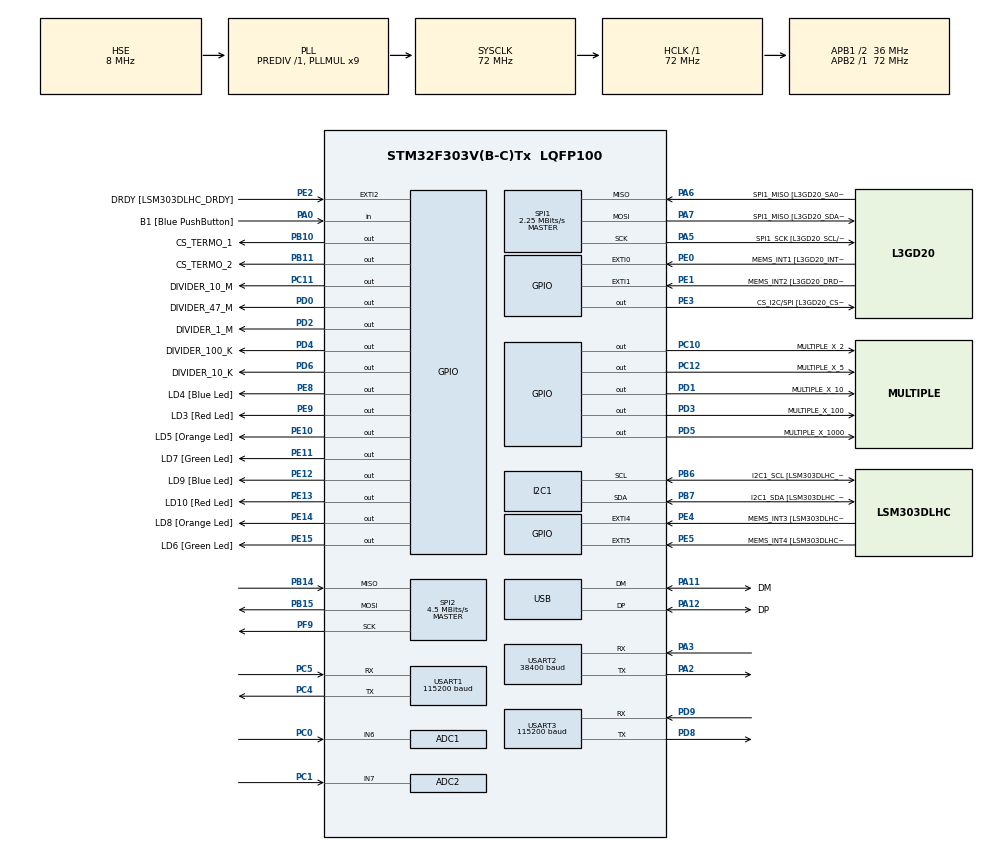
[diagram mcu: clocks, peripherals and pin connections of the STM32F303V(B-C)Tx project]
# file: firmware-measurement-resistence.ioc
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ADC1.Channel-1\#ChannelRegularConversion=ADC_CHANNEL_6
ADC1.ContinuousConvMode=ENABLE
ADC1.EOCSelection=ADC_EOC_SINGLE_CONV
ADC1.NbrOfConversionFlag=1
ADC1.Offset-1\#ChannelRegularConversion=0
ADC1.OffsetNumber-1\#ChannelRegularConversion=ADC_OFFSET_NONE
ADC1.Rank-1\#ChannelRegularConversion=1
ADC1.SamplingTime-1\#ChannelRegularConversion=ADC_SAMPLETIME_61CYCLES_5
ADC1.master=1
ADC2.Channel-0\#ChannelRegularConversion=ADC_CHANNEL_7
ADC2.ContinuousConvMode=ENABLE
ADC2.NbrOfConversionFlag=1
ADC2.Offset-0\#ChannelRegularConversion=0
ADC2.OffsetNumber-0\#ChannelRegularConversion=ADC_OFFSET_NONE
ADC2.Rank-0\#ChannelRegularConversion=1
ADC2.SamplingTime-0\#ChannelRegularConversion=ADC_SAMPLETIME_61CYCLES_5
ADC2.SamplingTimeOPAMP-0\#ChannelRegularConversion=ADC_SAMPLETIME_61CYCLES_5
Dma.Request0=USART3_RX
Dma.Request1=USART3_TX
Dma.USART3_RX.0.Direction=DMA_PERIPH_TO_MEMORY
Dma.USART3_RX.0.Instance=DMA1_Channel3
Dma.USART3_RX.0.MemDataAlignment=DMA_MDATAALIGN_BYTE
Dma.USART3_RX.0.MemInc=DMA_MINC_ENABLE
Dma.USART3_RX.0.Mode=DMA_CIRCULAR
Dma.USART3_RX.0.PeriphDataAlignment=DMA_PDATAALIGN_BYTE
Dma.USART3_RX.0.PeriphInc=DMA_PINC_DISABLE
Dma.USART3_RX.0.Priority=DMA_PRIORITY_LOW
Dma.USART3_TX.1.Direction=DMA_MEMORY_TO_PERIPH
Dma.USART3_TX.1.Instance=DMA1_Channel2
Dma.USART3_TX.1.MemDataAlignment=DMA_MDATAALIGN_BYTE
Dma.USART3_TX.1.MemInc=DMA_MINC_ENABLE
Dma.USART3_TX.1.Mode=DMA_NORMAL
Dma.USART3_TX.1.PeriphDataAlignment=DMA_PDATAALIGN_BYTE
Dma.USART3_TX.1.PeriphInc=DMA_PINC_DISABLE
Dma.USART3_TX.1.Priority=DMA_PRIORITY_LOW
I2C1.Timing-I2C=0x2000090E
Mcu.Family=STM32F3
Mcu.Name=STM32F303V(B-C)Tx
Mcu.Package=LQFP100
NVIC.DMA1_Channel2_IRQn=true\:0\:0\:false\:false\:true\:false\:true
NVIC.DMA1_Channel3_IRQn=true\:0\:0\:false\:false\:true\:false\:true
NVIC.PriorityGroup=NVIC_PRIORITYGROUP_0
PA0.GPIO_Label=B1 [Blue PushButton]
PA0.Signal=GPIO_Input
PA11.GPIO_Label=DM
PA11.Mode=Device
PA11.Signal=USB_DM
PA12.GPIO_Label=DP
PA12.Mode=Device
PA12.Signal=USB_DP
PA13.GPIO_Label=SWDIO
PA13.Mode=Serial_Wire
PA13.Signal=SYS_JTMS-SWDIO
PA14.GPIO_Label=SWCLK
PA14.Mode=Serial_Wire
PA14.Signal=SYS_JTCK-SWCLK
PA2.Mode=Asynchronous
PA2.Signal=USART2_TX
PA3.Mode=Asynchronous
PA3.Signal=USART2_RX
PA5.GPIO_Label=SPI1_SCK [L3GD20_SCL/SPC]
PA5.Mode=Full_Duplex_Master
PA5.Signal=SPI1_SCK
PA6.GPIO_Label=SPI1_MISO [L3GD20_SA0/SDO]
PA6.Mode=Full_Duplex_Master
PA6.Signal=SPI1_MISO
PA7.GPIO_Label=SPI1_MISO [L3GD20_SDA/SDI/SDO]
PA7.Mode=Full_Duplex_Master
PA7.Signal=SPI1_MOSI
PB10.GPIO_Label=CS_TERMO_1
PB10.GPIO_PuPd=GPIO_PULLUP
PB10.PinState=GPIO_PIN_SET
PB10.Signal=GPIO_Output
PB11.GPIO_Label=CS_TERMO_2
PB11.GPIO_PuPd=GPIO_PULLUP
PB11.PinState=GPIO_PIN_SET
PB11.Signal=GPIO_Output
PB14.Mode=Full_Duplex_Master
PB14.Signal=SPI2_MISO
PB15.Mode=Full_Duplex_Master
PB15.Signal=SPI2_MOSI
PB3.GPIO_Label=SWO
PB3.Signal=SYS_JTDO-TRACESWO
PB6.GPIO_Label=I2C1_SCL [LSM303DLHC_SCL]
PB6.Mode=I2C
PB6.Signal=I2C1_SCL
PB7.GPIO_Label=I2C1_SDA [LSM303DLHC_SDA]
PB7.Mode=I2C
PB7.Signal=I2C1_SDA
PC0.Signal=ADCx_IN6
PC1.Signal=ADCx_IN7
PC10.GPIO_Label=MULTIPLE_X_2
PC10.GPIO_PuPd=GPIO_PULLUP
PC10.Signal=GPIO_Output
PC11.GPIO_Label=DIVIDER_10_M
PC11.GPIO_PuPd=GPIO_PULLUP
PC11.PinState=GPIO_PIN_RESET
PC11.Signal=GPIO_Output
PC12.GPIO_Label=MULTIPLE_X_5
PC12.GPIO_PuPd=GPIO_PULLUP
PC12.Signal=GPIO_Output
PC14-OSC32_IN.GPIO_Label=OSC32_IN
PC14-OSC32_IN.Signal=RCC_OSC32_IN
PC15-OSC32_OUT.GPIO_Label=OSC32_OUT
PC15-OSC32_OUT.Signal=RCC_OSC32_OUT
PC4.GPIO_PuPd=GPIO_NOPULL
PC4.Mode=Asynchronous
PC4.Signal=USART1_TX
PC5.GPIO_PuPd=GPIO_NOPULL
PC5.Mode=Asynchronous
PC5.Signal=USART1_RX
PD0.GPIO_Label=DIVIDER_47_M
PD0.GPIO_PuPd=GPIO_PULLUP
PD0.Signal=GPIO_Output
PD1.GPIO_Label=MULTIPLE_X_10
PD1.GPIO_PuPd=GPIO_PULLUP
PD1.Signal=GPIO_Output
PD2.GPIO_Label=DIVIDER_1_M
PD2.GPIO_PuPd=GPIO_PULLUP
PD2.Signal=GPIO_Output
PD3.GPIO_Label=MULTIPLE_X_100
PD3.GPIO_PuPd=GPIO_PULLUP
PD3.Signal=GPIO_Output
PD4.GPIO_Label=DIVIDER_100_K
PD4.GPIO_PuPd=GPIO_PULLUP
PD4.Signal=GPIO_Output
PD5.GPIO_Label=MULTIPLE_X_1000
PD5.GPIO_PuPd=GPIO_PULLUP
PD5.Signal=GPIO_Output
PD6.GPIO_Label=DIVIDER_10_K
PD6.GPIO_PuPd=GPIO_PULLUP
PD6.Signal=GPIO_Output
PD8.Mode=Asynchronous
PD8.Signal=USART3_TX
PD9.Mode=Asynchronous
PD9.Signal=USART3_RX
PE0.GPIO_Label=MEMS_INT1 [L3GD20_INT1]
PE0.GPIO_ModeDefaultEXTI=GPIO_MODE_EVT_RISING
PE0.Signal=GPXTI0
PE1.GPIO_Label=MEMS_INT2 [L3GD20_DRDY/INT2]
PE1.GPIO_ModeDefaultEXTI=GPIO_MODE_EVT_RISING
PE1.Signal=GPXTI1
PE10.GPIO_Label=LD5 [Orange Led]
PE10.GPIO_PuPd=GPIO_PULLUP
PE10.Signal=GPIO_Output
PE11.GPIO_Label=LD7 [Green Led]
PE11.GPIO_PuPd=GPIO_PULLUP
PE11.Signal=GPIO_Output
PE12.GPIO_Label=LD9 [Blue Led]
PE12.GPIO_PuPd=GPIO_PULLUP
PE12.Signal=GPIO_Output
PE13.GPIO_Label=LD10 [Red Led]
PE13.GPIO_PuPd=GPIO_PULLUP
PE13.Signal=GPIO_Output
PE14.GPIO_Label=LD8 [Orange Led]
PE14.GPIO_PuPd=GPIO_PULLUP
PE14.Signal=GPIO_Output
PE15.GPIO_Label=LD6 [Green Led]
PE15.GPIO_PuPd=GPIO_PULLUP
PE15.Signal=GPIO_Output
PE2.GPIO_Label=DRDY [LSM303DLHC_DRDY]
PE2.GPIO_ModeDefaultEXTI=GPIO_MODE_EVT_RISING
PE2.Signal=GPXTI2
PE3.GPIO_Label=CS_I2C/SPI [L3GD20_CS_I2C/SPI]
PE3.Signal=GPIO_Output
PE4.GPIO_Label=MEMS_INT3 [LSM303DLHC_INT1]
PE4.GPIO_ModeDefaultEXTI=GPIO_MODE_EVT_RISING
PE4.Signal=GPXTI4
PE5.GPIO_Label=MEMS_INT4 [LSM303DLHC_INT2]
PE5.GPIO_ModeDefaultEXTI=GPIO_MODE_EVT_RISING
PE5.Signal=GPXTI5
PE8.GPIO_Label=LD4 [Blue Led]
PE8.GPIO_PuPd=GPIO_PULLUP
PE8.Signal=GPIO_Output
PE9.GPIO_Label=LD3 [Red Led]
PE9.GPIO_PuPd=GPIO_PULLUP
PE9.Signal=GPIO_Output
PF0-OSC_IN.GPIO_Label=OSC_IN
PF0-OSC_IN.Mode=HSE-External-Oscillator
PF0-OSC_IN.Signal=RCC_OSC_IN
PF1-OSC_OUT.GPIO_Label=OSC_OUT
PF1-OSC_OUT.Mode=HSE-External-Oscillator
PF1-OSC_OUT.Signal=RCC_OSC_OUT
PF9.Mode=Full_Duplex_Master
PF9.Signal=SPI2_SCK
ProjectManager.HeapSize=0x200
ProjectManager.StackSize=0x400
ProjectManager.TargetToolchain=MDK-ARM V5.27
RCC.AHBFreq_Value=72000000
RCC.APB1CLKDivider=RCC_HCLK_DIV2
RCC.APB1Freq_Value=36000000
RCC.APB1TimFreq_Value=72000000
RCC.APB2Freq_Value=72000000
RCC.APB2TimFreq_Value=72000000
RCC.CortexFreq_Value=72000000
RCC.EnbaleCSS=true
RCC.HCLKFreq_Value=72000000
RCC.HSE_VALUE=8000000
RCC.HSI_VALUE=8000000
RCC.LSE_VALUE=32768
RCC.PLLMUL=RCC_PLL_MUL9
RCC.PRESCALERUSB=RCC_USBCLKSOURCE_PLL_DIV1_5
RCC.SYSCLKFreq_VALUE=72000000
RCC.SYSCLKSourceVirtual=RCC_SYSCLKSOURCE_PLLCLK
RCC.USBFreq_Value=48000000
SH.ADCx_IN6.0=ADC1_IN6,IN6-Single-Ended
SH.ADCx_IN7.0=ADC2_IN7,IN7-Single-Ended
SPI1.BaudRatePrescaler=SPI_BAUDRATEPRESCALER_32
SPI1.BaudRatePrescaler-Full_Duplex_Master=SPI_BAUDRATEPRESCALER_2
SPI1.CalculateBaudRate=2.25 MBits/s
SPI1.CalculateBaudRate-Full_Duplex_Master=24.0 MBits/s
SPI1.DataSize=SPI_DATASIZE_16BIT
SPI1.Direction=SPI_DIRECTION_2LINES
SPI1.Mode=SPI_MODE_MASTER
SPI1.Mode-Full_Duplex_Master=SPI_MODE_MASTER
SPI1.VirtualType=VM_MASTER
SPI2.BaudRatePrescaler=SPI_BAUDRATEPRESCALER_8
SPI2.CalculateBaudRate=4.5 MBits/s
SPI2.DataSize=SPI_DATASIZE_16BIT
SPI2.Direction=SPI_DIRECTION_2LINES
SPI2.Mode=SPI_MODE_MASTER
SPI2.VirtualType=VM_MASTER
USART1.BaudRate=115200
USART1.VirtualMode-Asynchronous=VM_ASYNC
USART2.BaudRate=38400
USART2.VirtualMode-Asynchronous=VM_ASYNC
USART3.BaudRate=115200
USART3.DataInvertParam=ADVFEATURE_DATAINV_DISABLE
USART3.VirtualMode-Asynchronous=VM_ASYNC
board=STM32F3DISCOVERY

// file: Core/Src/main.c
/* USER CODE BEGIN Header */
/**
  ******************************************************************************
  * @file           : main.c
  * @brief          : Main program body
  ******************************************************************************
  * @attention
  *
  * <h2><center>&copy; Copyright (c) 2020 STMicroelectronics.
  * All rights reserved.</center></h2>
  *
  * This software component is licensed by ST under BSD 3-Clause license,
  * the "License"; You may not use this file except in compliance with the
  * License. You may obtain a copy of the License at:
  *                        opensource.org/licenses/BSD-3-Clause
  *
  ******************************************************************************
  */
/* USER CODE END Header */
#include "main.h"
#include "adc.h"
#include "dma.h"
#include "i2c.h"
#include "spi.h"
#include "usart.h"
#include "usb.h"
#include "gpio.h"

/* USER CODE BEGIN Includes */
#include "d-protocol.h"
#include "dev-info.h"
/* USER CODE END Includes */

void SystemClock_Config(void);
/* USER CODE BEGIN PFP */
void calculate_average (void);
void change_div_mul (void);

void change_mul_div_up (uint8_t cur_mul, uint8_t div_mul);
void change_mul_div_down (uint8_t cur_mul, uint8_t div_mul);
/* USER CODE END PFP */

/* USER CODE BEGIN 0 */

uint16_t cur_time = 0;
uint16_t prev_time = 0;
uint16_t calc_time = 0;

uint16_t tx[1];
uint16_t rx[1];
uint16_t temp;

	uint8_t asd[5] = {0x11, 0x22, 0x33, 0x44, 0x55};
/* USER CODE END 0 */

int main(void)
{

  /* MCU Configuration--------------------------------------------------------*/

  /* Reset of all peripherals, Initializes the Flash interface and the Systick. */
  HAL_Init();

  /* Configure the system clock */
  SystemClock_Config();

  /* Initialize all configured peripherals */
  MX_GPIO_Init();
  MX_DMA_Init();
  MX_I2C1_Init();
  MX_SPI1_Init();
  MX_USB_PCD_Init();
  MX_SPI2_Init();
  MX_USART3_UART_Init();
  MX_USART1_UART_Init();
  MX_USART2_UART_Init();
  MX_ADC1_Init();
  MX_ADC2_Init();
  /* USER CODE BEGIN 2 */

	HAL_ADC_Start (&hadc1);
	HAL_ADC_Start (&hadc2);

  Reset_All_MUL_DIV ();

  dev_init (&dev_r);

	set_r_multiple (&dev_r, MULTIPLE_X_1);
	Write_MUL (MULTIPLE_X_1, GPIO_PIN_SET);

	set_r_divide (&dev_r, DIVIDER_10_M);
	Write_DIV (DIVIDER_10_M, GPIO_PIN_SET);

	HAL_UART_Transmit (&huart1, (uint8_t *)asd, 5, 1000);

  /* USER CODE END 2 */

  /* Infinite loop */
  /* USER CODE BEGIN WHILE */
  while (1)
  {
		cur_time = get_sys_time (&dev_r);

		if (cur_time > prev_time) {
			calc_time = cur_time - prev_time;
		}
		else {
			calc_time = MAX_SYS_TICK_MS - prev_time + cur_time;
		}

		if (calc_time >= PERIOD_SEND_DELAY) {
			/*execute many times when counters are zero*/
			prev_time = cur_time;

			uint8_t stage = get_status_dev (&dev_r);

			HAL_GPIO_WritePin (LD3_GPIO_Port, LD3_Pin, GPIO_PIN_SET); // test speed measurement
			get_measure ();
			calculate_average ();

			HAL_GPIO_WritePin (CS_TERMO_1_GPIO_Port, CS_TERMO_1_Pin, GPIO_PIN_RESET);
			HAL_SPI_TransmitReceive (&hspi2, (uint8_t *)tx, (uint8_t *)rx, 1, 1000);
			HAL_GPIO_WritePin (CS_TERMO_1_GPIO_Port, CS_TERMO_1_Pin, GPIO_PIN_SET);

			temp = rx[0] >> 3;
			rx[0] = 0;

			set_thermocouple_1 (&dev_r, temp);

			HAL_GPIO_WritePin (CS_TERMO_2_GPIO_Port, CS_TERMO_2_Pin, GPIO_PIN_RESET);
			HAL_SPI_TransmitReceive (&hspi2, (uint8_t *)tx, (uint8_t *)rx, 1, 1000);

			HAL_GPIO_WritePin (CS_TERMO_2_GPIO_Port, CS_TERMO_2_Pin, GPIO_PIN_SET);

			temp = rx[0] >> 3;
			rx[0] = 0;

			set_thermocouple_2 (&dev_r, temp);

			send_message (&data_resistance);

			change_div_mul ();

			HAL_GPIO_WritePin (LD3_GPIO_Port, LD3_Pin, GPIO_PIN_RESET); // test speed measurement

			__NOP();
		}

    /* USER CODE END WHILE */

  }
}

void SystemClock_Config(void)
{
  RCC_OscInitTypeDef RCC_OscInitStruct = {0};
  RCC_ClkInitTypeDef RCC_ClkInitStruct = {0};
  RCC_PeriphCLKInitTypeDef PeriphClkInit = {0};

  /** Initializes the RCC Oscillators according to the specified parameters
  * in the RCC_OscInitTypeDef structure.
  */
  RCC_OscInitStruct.OscillatorType = RCC_OSCILLATORTYPE_HSI|RCC_OSCILLATORTYPE_HSE;
  RCC_OscInitStruct.HSEState = RCC_HSE_ON;
  RCC_OscInitStruct.HSEPredivValue = RCC_HSE_PREDIV_DIV1;
  RCC_OscInitStruct.HSIState = RCC_HSI_ON;
  RCC_OscInitStruct.HSICalibrationValue = RCC_HSICALIBRATION_DEFAULT;
  RCC_OscInitStruct.PLL.PLLState = RCC_PLL_ON;
  RCC_OscInitStruct.PLL.PLLSource = RCC_PLLSOURCE_HSE;
  RCC_OscInitStruct.PLL.PLLMUL = RCC_PLL_MUL9;
  if (HAL_RCC_OscConfig(&RCC_OscInitStruct) != HAL_OK)
  {
    Error_Handler();
  }
  /** Initializes the CPU, AHB and APB buses clocks
  */
  RCC_ClkInitStruct.ClockType = RCC_CLOCKTYPE_HCLK|RCC_CLOCKTYPE_SYSCLK
                              |RCC_CLOCKTYPE_PCLK1|RCC_CLOCKTYPE_PCLK2;
  RCC_ClkInitStruct.SYSCLKSource = RCC_SYSCLKSOURCE_PLLCLK;
  RCC_ClkInitStruct.AHBCLKDivider = RCC_SYSCLK_DIV1;
  RCC_ClkInitStruct.APB1CLKDivider = RCC_HCLK_DIV2;
  RCC_ClkInitStruct.APB2CLKDivider = RCC_HCLK_DIV1;

  if (HAL_RCC_ClockConfig(&RCC_ClkInitStruct, FLASH_LATENCY_2) != HAL_OK)
  {
    Error_Handler();
  }
  PeriphClkInit.PeriphClockSelection = RCC_PERIPHCLK_USB|RCC_PERIPHCLK_USART1
                              |RCC_PERIPHCLK_USART2|RCC_PERIPHCLK_USART3
                              |RCC_PERIPHCLK_I2C1|RCC_PERIPHCLK_ADC12;
  PeriphClkInit.Usart1ClockSelection = RCC_USART1CLKSOURCE_PCLK2;
  PeriphClkInit.Usart2ClockSelection = RCC_USART2CLKSOURCE_PCLK1;
  PeriphClkInit.Usart3ClockSelection = RCC_USART3CLKSOURCE_PCLK1;
  PeriphClkInit.Adc12ClockSelection = RCC_ADC12PLLCLK_DIV1;
  PeriphClkInit.I2c1ClockSelection = RCC_I2C1CLKSOURCE_HSI;
  PeriphClkInit.USBClockSelection = RCC_USBCLKSOURCE_PLL_DIV1_5;
  if (HAL_RCCEx_PeriphCLKConfig(&PeriphClkInit) != HAL_OK)
  {
    Error_Handler();
  }
  /** Enables the Clock Security System
  */
  HAL_RCC_EnableCSS();
}

/* USER CODE BEGIN 4 */

void calculate_average (void)
{
	uint32_t average_adc_data_meas = 0;
	uint32_t average_adc_ref_volt = 0;

	uint16_t adc_data_meas = 0;
	uint16_t adc_ref_volt = 0;

	for (uint8_t i = 0; i < CAPTURE_DATA_SIZE; i++)
	{
		average_adc_data_meas += get_capture_cur_adc_data_meas (&dev_r, i);
		average_adc_ref_volt += get_capture_cur_adc_data_ref_volt (&dev_r, i);
	}

	adc_data_meas = (uint16_t)(average_adc_data_meas / CAPTURE_DATA_SIZE);
	adc_ref_volt = (uint16_t)(average_adc_ref_volt / CAPTURE_DATA_SIZE);

	set_adc_data_meas (&dev_r, adc_data_meas);
	set_adc_data_ref_volt (&dev_r, adc_ref_volt);
}

void change_div_mul (void)
{
	uint16_t adc_data_meas = 0;
	uint8_t gpio_mul = 0;
	uint8_t gpio_div = 0;

	uint16_t adc_ref_volt = 0;

	adc_data_meas = get_adc_data_meas (&dev_r);

	gpio_mul = get_r_multiple (&dev_r);
	gpio_div = get_r_divide (&dev_r);

	/* change divide and multiply resistors depends on adc_ref_out value. */
	/*

	 * ? ?????? ??????????????? ???????? ?? ??????? (divider (D)).
	 * ????? ?????????? ??????????? ???????? ?? ?? (multiple (M)).
	 * ? ???????? ????????? ????????? D ? M ?????????? ????????? ???????:
	 * 	D = const, ? M ?????????? ?? ??? ???, ???? ??????????? ???????????:
	 * 			START_VALUE_SIGNAL_MIN < adc_ref_volt < START_VALUE_SIGNAL_MAX (1)
	 * 	????? (1) ?? ???????????, ?? ??????? ?????????? M, ? ????? M ????????? min ??? max,
	 * 							  ?? D ?????????????? ????????????? ??? ???????????.
	 * */

	/* Go throught range. */
	/*	*/
	if (adc_data_meas < START_VALUE_SIGNAL_MIN) {
		change_mul_div_up (gpio_mul, gpio_div);
	}
	else if (adc_data_meas > START_VALUE_SIGNAL_MAX) {
		change_mul_div_down (gpio_mul, gpio_div);
	}
}

	/*  */
void change_mul_div_up (uint8_t cur_mul, uint8_t div_mul)
{
	switch (div_mul) {
		case DIVIDER_10_K: {
			switch (cur_mul) {
				case MULTIPLE_X_1: {
					Write_MUL (MULTIPLE_X_1, GPIO_PIN_RESET);
					set_r_multiple (&dev_r, MULTIPLE_X_2);
					Write_MUL (MULTIPLE_X_2, GPIO_PIN_SET);
					break;
				}
				case MULTIPLE_X_2: {
					Write_MUL (MULTIPLE_X_2, GPIO_PIN_RESET);
					set_r_multiple (&dev_r, MULTIPLE_X_5);
					Write_MUL (MULTIPLE_X_5, GPIO_PIN_SET);
					break;
				}
				case MULTIPLE_X_5: {
					Write_MUL (MULTIPLE_X_5, GPIO_PIN_RESET);
					set_r_multiple (&dev_r, MULTIPLE_X_10);
					Write_MUL (MULTIPLE_X_10, GPIO_PIN_SET);
					break;
				}
				case MULTIPLE_X_10: {
					Write_MUL (MULTIPLE_X_10, GPIO_PIN_RESET);
					set_r_multiple (&dev_r, MULTIPLE_X_100);
					Write_MUL (MULTIPLE_X_100, GPIO_PIN_SET);
					break;
				}
				case MULTIPLE_X_100: {
					Write_MUL (MULTIPLE_X_100, GPIO_PIN_RESET);
					set_r_multiple (&dev_r, MULTIPLE_X_1000);
					Write_MUL (MULTIPLE_X_1000, GPIO_PIN_SET);
					break;
				}
				case MULTIPLE_X_1000: {
					// should be tested
					Write_MUL (MULTIPLE_X_1000, GPIO_PIN_RESET);
					set_r_multiple (&dev_r, MULTIPLE_X_1);
					Write_MUL (MULTIPLE_X_1, GPIO_PIN_SET);

					Write_DIV (DIVIDER_10_K, GPIO_PIN_RESET);
					set_r_divide (&dev_r, DIVIDER_100_K);
					Write_DIV (DIVIDER_100_K, GPIO_PIN_SET);
					break;
				}
				default: {break;}
			}
			break;
		}
		case DIVIDER_100_K: {
			switch (cur_mul) {
				case MULTIPLE_X_1: {
					Write_MUL (MULTIPLE_X_1, GPIO_PIN_RESET);
					set_r_multiple (&dev_r, MULTIPLE_X_2);
					Write_MUL (MULTIPLE_X_2, GPIO_PIN_SET);
					break;
				}
				case MULTIPLE_X_2: {
					Write_MUL (MULTIPLE_X_2, GPIO_PIN_RESET);
					set_r_multiple (&dev_r, MULTIPLE_X_5);
					Write_MUL (MULTIPLE_X_5, GPIO_PIN_SET);
					break;
				}
				case MULTIPLE_X_5: {
					Write_MUL (MULTIPLE_X_5, GPIO_PIN_RESET);
					set_r_multiple (&dev_r, MULTIPLE_X_10);
					Write_MUL (MULTIPLE_X_10, GPIO_PIN_SET);
					break;
				}
				case MULTIPLE_X_10: {
					Write_MUL (MULTIPLE_X_10, GPIO_PIN_RESET);
					set_r_multiple (&dev_r, MULTIPLE_X_100);
					Write_MUL (MULTIPLE_X_100, GPIO_PIN_SET);
					break;
				}
				case MULTIPLE_X_100: {
					Write_MUL (MULTIPLE_X_100, GPIO_PIN_RESET);
					set_r_multiple (&dev_r, MULTIPLE_X_1000);
					Write_MUL (MULTIPLE_X_1000, GPIO_PIN_SET);
					break;
				}
				case MULTIPLE_X_1000: {
					// should be tested
					Write_MUL (MULTIPLE_X_1000, GPIO_PIN_RESET);
					set_r_multiple (&dev_r, MULTIPLE_X_1);
					Write_MUL (MULTIPLE_X_1, GPIO_PIN_SET);

					Write_DIV (DIVIDER_100_K, GPIO_PIN_RESET);
					set_r_divide (&dev_r, DIVIDER_1_M);
					Write_DIV (DIVIDER_1_M, GPIO_PIN_SET);

					break;
				}
				default: {break;}
			}
			break;
		}
		case DIVIDER_1_M: {
			switch (cur_mul) {
				case MULTIPLE_X_1: {
					Write_MUL (MULTIPLE_X_1, GPIO_PIN_RESET);
					set_r_multiple (&dev_r, MULTIPLE_X_2);
					Write_MUL (MULTIPLE_X_2, GPIO_PIN_SET);
					break;
				}
				case MULTIPLE_X_2: {
					Write_MUL (MULTIPLE_X_2, GPIO_PIN_RESET);
					set_r_multiple (&dev_r, MULTIPLE_X_5);
					Write_MUL (MULTIPLE_X_5, GPIO_PIN_SET);
					break;
				}
				case MULTIPLE_X_5: {
					Write_MUL (MULTIPLE_X_5, GPIO_PIN_RESET);
					set_r_multiple (&dev_r, MULTIPLE_X_10);
					Write_MUL (MULTIPLE_X_10, GPIO_PIN_SET);
					break;
				}
				case MULTIPLE_X_10: {
					Write_MUL (MULTIPLE_X_10, GPIO_PIN_RESET);
					set_r_multiple (&dev_r, MULTIPLE_X_100);
					Write_MUL (MULTIPLE_X_100, GPIO_PIN_SET);
					break;
				}
				case MULTIPLE_X_100: {
					Write_MUL (MULTIPLE_X_100, GPIO_PIN_RESET);
					set_r_multiple (&dev_r, MULTIPLE_X_1000);
					Write_MUL (MULTIPLE_X_10, GPIO_PIN_SET);
					break;
				}
				case MULTIPLE_X_1000: {
					// should be tested
					Write_MUL (MULTIPLE_X_1000, GPIO_PIN_RESET);
					set_r_multiple (&dev_r, MULTIPLE_X_1);
					Write_MUL (MULTIPLE_X_1, GPIO_PIN_SET);

					Write_DIV (DIVIDER_1_M, GPIO_PIN_RESET);
					set_r_divide (&dev_r, DIVIDER_10_M);
					Write_DIV (DIVIDER_10_M, GPIO_PIN_SET);

					break;
				}
				default: {break;}
			}
			break;
		}
		case DIVIDER_10_M: {
			switch (cur_mul) {
				case MULTIPLE_X_1: {
					Write_MUL (MULTIPLE_X_1, GPIO_PIN_RESET);
					set_r_multiple (&dev_r, MULTIPLE_X_2);
					Write_MUL (MULTIPLE_X_2, GPIO_PIN_SET);
					break;
				}
				case MULTIPLE_X_2: {
					Write_MUL (MULTIPLE_X_2, GPIO_PIN_RESET);
					set_r_multiple (&dev_r, MULTIPLE_X_5);
					Write_MUL (MULTIPLE_X_5, GPIO_PIN_SET);
					break;
				}
				case MULTIPLE_X_5: {
					Write_MUL (MULTIPLE_X_5, GPIO_PIN_RESET);
					set_r_multiple (&dev_r, MULTIPLE_X_10);
					Write_MUL (MULTIPLE_X_10, GPIO_PIN_SET);
					break;
				}
				case MULTIPLE_X_10: {
					Write_MUL (MULTIPLE_X_10, GPIO_PIN_RESET);
					set_r_multiple (&dev_r, MULTIPLE_X_100);
					Write_MUL (MULTIPLE_X_100, GPIO_PIN_SET);
					break;
				}
				case MULTIPLE_X_100: {
					Write_MUL (MULTIPLE_X_100, GPIO_PIN_RESET);
					set_r_multiple (&dev_r, MULTIPLE_X_1000);
					Write_MUL (MULTIPLE_X_1000, GPIO_PIN_SET);
					break;
				}
				case MULTIPLE_X_1000: {
					// should be tested
					Write_MUL (MULTIPLE_X_1000, GPIO_PIN_RESET);
					set_r_multiple (&dev_r, MULTIPLE_X_1);
					Write_MUL (MULTIPLE_X_1, GPIO_PIN_SET);

					Write_DIV (DIVIDER_10_M, GPIO_PIN_RESET);
					set_r_divide (&dev_r, DIVIDER_47_M);
					Write_DIV (DIVIDER_47_M, GPIO_PIN_SET);

					break;
				}
				default: {break;}
			}
			break;
		}
		case DIVIDER_47_M: {
			switch (cur_mul) {
				case MULTIPLE_X_1: {
					Write_MUL (MULTIPLE_X_1, GPIO_PIN_RESET);
					set_r_multiple (&dev_r, MULTIPLE_X_2);
					Write_MUL (MULTIPLE_X_2, GPIO_PIN_SET);
					break;
				}
				case MULTIPLE_X_2: {
					Write_MUL (MULTIPLE_X_2, GPIO_PIN_RESET);
					set_r_multiple (&dev_r, MULTIPLE_X_5);
					Write_MUL (MULTIPLE_X_5, GPIO_PIN_SET);
					break;
				}
				case MULTIPLE_X_5: {
					Write_MUL (MULTIPLE_X_5, GPIO_PIN_RESET);
					set_r_multiple (&dev_r, MULTIPLE_X_10);
					Write_MUL (MULTIPLE_X_10, GPIO_PIN_SET);
					break;
				}
				case MULTIPLE_X_10: {
					Write_MUL (MULTIPLE_X_10, GPIO_PIN_RESET);
					set_r_multiple (&dev_r, MULTIPLE_X_100);
					Write_MUL (MULTIPLE_X_100, GPIO_PIN_SET);
					break;
				}
				case MULTIPLE_X_100: {
					Write_MUL (MULTIPLE_X_100, GPIO_PIN_RESET);
					set_r_multiple (&dev_r, MULTIPLE_X_1000);
					Write_MUL (MULTIPLE_X_1000, GPIO_PIN_SET);
					break;
				}
				case MULTIPLE_X_1000: {
					// end value

					break;
				}
				default: {break;}
			}
			break;
		}
	}
}

/*
	decrease multiplier or divider
*/
void change_mul_div_down (uint8_t cur_mul, uint8_t div_mul)
{
	switch (div_mul) {
		case DIVIDER_10_K: {
			switch (cur_mul) {
				case MULTIPLE_X_1: {
					// end value
					break;
				}
				case MULTIPLE_X_2: {
					Write_MUL (MULTIPLE_X_2, GPIO_PIN_RESET);
					set_r_multiple (&dev_r, MULTIPLE_X_1);
					Write_MUL (MULTIPLE_X_1, GPIO_PIN_SET);
					break;
				}
				case MULTIPLE_X_5: {
					Write_MUL (MULTIPLE_X_5, GPIO_PIN_RESET);
					set_r_multiple (&dev_r, MULTIPLE_X_2);
					Write_MUL (MULTIPLE_X_2, GPIO_PIN_SET);
					break;
				}
				case MULTIPLE_X_10: {
					Write_MUL (MULTIPLE_X_10, GPIO_PIN_RESET);
					set_r_multiple (&dev_r, MULTIPLE_X_5);
					Write_MUL (MULTIPLE_X_5, GPIO_PIN_SET);
					break;
				}
				case MULTIPLE_X_100: {
					Write_MUL (MULTIPLE_X_100, GPIO_PIN_RESET);
					set_r_multiple (&dev_r, MULTIPLE_X_10);
					Write_MUL (MULTIPLE_X_10, GPIO_PIN_SET);
					break;
				}
				case MULTIPLE_X_1000: {
					Write_MUL (MULTIPLE_X_1000, GPIO_PIN_RESET);
					set_r_multiple (&dev_r, MULTIPLE_X_100);
					Write_MUL (MULTIPLE_X_100, GPIO_PIN_SET);
					break;
				}
				default: {break;}
			}
			break;
		}
		case DIVIDER_100_K: {
			switch (cur_mul) {
				case MULTIPLE_X_1: {
					Write_DIV (DIVIDER_100_K, GPIO_PIN_RESET);
					set_r_divide (&dev_r, DIVIDER_10_K);
					Write_DIV (DIVIDER_10_K, GPIO_PIN_SET);

					// should be tested maybe this is too much
					Write_MUL (MULTIPLE_X_1, GPIO_PIN_RESET);
					set_r_multiple (&dev_r, MULTIPLE_X_1000);
					Write_MUL (MULTIPLE_X_1000, GPIO_PIN_SET);
					break;
				}
				case MULTIPLE_X_2: {
					Write_MUL (MULTIPLE_X_2, GPIO_PIN_RESET);
					set_r_multiple (&dev_r, MULTIPLE_X_1);
					Write_MUL (MULTIPLE_X_1, GPIO_PIN_SET);
					break;
				}
				case MULTIPLE_X_5: {
					Write_MUL (MULTIPLE_X_5, GPIO_PIN_RESET);
					set_r_multiple (&dev_r, MULTIPLE_X_2);
					Write_MUL (MULTIPLE_X_2, GPIO_PIN_SET);
					break;
				}
				case MULTIPLE_X_10: {
					Write_MUL (MULTIPLE_X_10, GPIO_PIN_RESET);
					set_r_multiple (&dev_r, MULTIPLE_X_5);
					Write_MUL (MULTIPLE_X_5, GPIO_PIN_SET);
					break;
				}
				case MULTIPLE_X_100: {
					Write_MUL (MULTIPLE_X_100, GPIO_PIN_RESET);
					set_r_multiple (&dev_r, MULTIPLE_X_10);
					Write_MUL (MULTIPLE_X_10, GPIO_PIN_SET);
					break;
				}
				case MULTIPLE_X_1000: {
					Write_MUL (MULTIPLE_X_1000, GPIO_PIN_RESET);
					set_r_multiple (&dev_r, MULTIPLE_X_100);
					Write_MUL (MULTIPLE_X_100, GPIO_PIN_SET);
					break;
				}
				default: {break;}
			}
			break;
		}
		case DIVIDER_1_M: {
			switch (cur_mul) {
				case MULTIPLE_X_1: {
					Write_DIV (DIVIDER_1_M, GPIO_PIN_RESET);
					set_r_divide (&dev_r, DIVIDER_100_K);
					Write_DIV (DIVIDER_100_K, GPIO_PIN_SET);

					// should be tested maybe this is too much
					Write_MUL (MULTIPLE_X_1, GPIO_PIN_RESET);
					set_r_multiple (&dev_r, MULTIPLE_X_1000);
					Write_MUL (MULTIPLE_X_1000, GPIO_PIN_SET);
					break;
				}
				case MULTIPLE_X_2: {
					Write_MUL (MULTIPLE_X_2, GPIO_PIN_RESET);
					set_r_multiple (&dev_r, MULTIPLE_X_1);
					Write_MUL (MULTIPLE_X_1, GPIO_PIN_SET);
					break;
				}
				case MULTIPLE_X_5: {
					Write_MUL (MULTIPLE_X_5, GPIO_PIN_RESET);
					set_r_multiple (&dev_r, MULTIPLE_X_2);
					Write_MUL (MULTIPLE_X_2, GPIO_PIN_SET);
					break;
				}
				case MULTIPLE_X_10: {
					Write_MUL (MULTIPLE_X_10, GPIO_PIN_RESET);
					set_r_multiple (&dev_r, MULTIPLE_X_5);
					Write_MUL (MULTIPLE_X_5, GPIO_PIN_SET);
					break;
				}
				case MULTIPLE_X_100: {
					Write_MUL (MULTIPLE_X_100, GPIO_PIN_RESET);
					set_r_multiple (&dev_r, MULTIPLE_X_10);
					Write_MUL (MULTIPLE_X_10, GPIO_PIN_SET);
					break;
				}
				case MULTIPLE_X_1000: {
					Write_MUL (MULTIPLE_X_1000, GPIO_PIN_RESET);
					set_r_multiple (&dev_r, MULTIPLE_X_100);
					Write_MUL (MULTIPLE_X_100, GPIO_PIN_SET);
					break;
				}
				default: {break;}
			}
			break;
		}
		case DIVIDER_10_M: {
			switch (cur_mul) {
				case MULTIPLE_X_1: {
					Write_DIV (DIVIDER_10_M, GPIO_PIN_RESET);
					set_r_divide (&dev_r, DIVIDER_1_M);
					Write_DIV (DIVIDER_1_M, GPIO_PIN_SET);

					// should be tested maybe this is too much
					Write_MUL (MULTIPLE_X_1, GPIO_PIN_RESET);
					set_r_multiple (&dev_r, MULTIPLE_X_1000);
					Write_MUL (MULTIPLE_X_1000, GPIO_PIN_SET);
					break;
				}
				case MULTIPLE_X_2: {
					Write_MUL (MULTIPLE_X_2, GPIO_PIN_RESET);
					set_r_multiple (&dev_r, MULTIPLE_X_1);
					Write_MUL (MULTIPLE_X_1, GPIO_PIN_SET);
					break;
				}
				case MULTIPLE_X_5: {
					Write_MUL (MULTIPLE_X_5, GPIO_PIN_RESET);
					set_r_multiple (&dev_r, MULTIPLE_X_2);
					Write_MUL (MULTIPLE_X_2, GPIO_PIN_SET);
					break;
				}
				case MULTIPLE_X_10: {
					Write_MUL (MULTIPLE_X_10, GPIO_PIN_RESET);
					set_r_multiple (&dev_r, MULTIPLE_X_5);
					Write_MUL (MULTIPLE_X_5, GPIO_PIN_SET);
					break;
				}
				case MULTIPLE_X_100: {
					Write_MUL (MULTIPLE_X_100, GPIO_PIN_RESET);
					set_r_multiple (&dev_r, MULTIPLE_X_10);
					Write_MUL (MULTIPLE_X_10, GPIO_PIN_SET);
					break;
				}
				case MULTIPLE_X_1000: {
					Write_MUL (MULTIPLE_X_1000, GPIO_PIN_RESET);
					set_r_multiple (&dev_r, MULTIPLE_X_100);
					Write_MUL (MULTIPLE_X_100, GPIO_PIN_SET);
					break;
				}
				default: {break;}
			}
			break;
		}
		case DIVIDER_47_M: {
			switch (cur_mul) {
				case MULTIPLE_X_1: {
					Write_DIV (DIVIDER_47_M, GPIO_PIN_RESET);
					set_r_divide (&dev_r, DIVIDER_10_M);
					Write_DIV (DIVIDER_10_M, GPIO_PIN_SET);

					// should be tested maybe this is too much
					Write_MUL (MULTIPLE_X_1, GPIO_PIN_RESET);
					set_r_multiple (&dev_r, MULTIPLE_X_1000);
					Write_MUL (MULTIPLE_X_1000, GPIO_PIN_SET);
					break;
				}
				case MULTIPLE_X_2: {
					Write_MUL (MULTIPLE_X_2, GPIO_PIN_RESET);
					set_r_multiple (&dev_r, MULTIPLE_X_1);
					Write_MUL (MULTIPLE_X_1, GPIO_PIN_SET);
					break;
				}
				case MULTIPLE_X_5: {
					Write_MUL (MULTIPLE_X_5, GPIO_PIN_RESET);
					set_r_multiple (&dev_r, MULTIPLE_X_2);
					Write_MUL (MULTIPLE_X_2, GPIO_PIN_SET);
					break;
				}
				case MULTIPLE_X_10: {
					Write_MUL (MULTIPLE_X_10, GPIO_PIN_RESET);
					set_r_multiple (&dev_r, MULTIPLE_X_5);
					Write_MUL (MULTIPLE_X_5, GPIO_PIN_SET);
					break;
				}
				case MULTIPLE_X_100: {
					Write_MUL (MULTIPLE_X_100, GPIO_PIN_RESET);
					set_r_multiple (&dev_r, MULTIPLE_X_10);
					Write_MUL (MULTIPLE_X_10, GPIO_PIN_SET);
					break;
				}
				case MULTIPLE_X_1000: {
					Write_MUL (MULTIPLE_X_1000, GPIO_PIN_RESET);
					set_r_multiple (&dev_r, MULTIPLE_X_100);
					Write_MUL (MULTIPLE_X_100, GPIO_PIN_SET);
					break;
				}
				default: {break;}
			}
			break;
		}
	}
}

/* USER CODE END 4 */

void Error_Handler(void)
{
}

/************************ (C) COPYRIGHT STMicroelectronics *****END OF FILE****/
